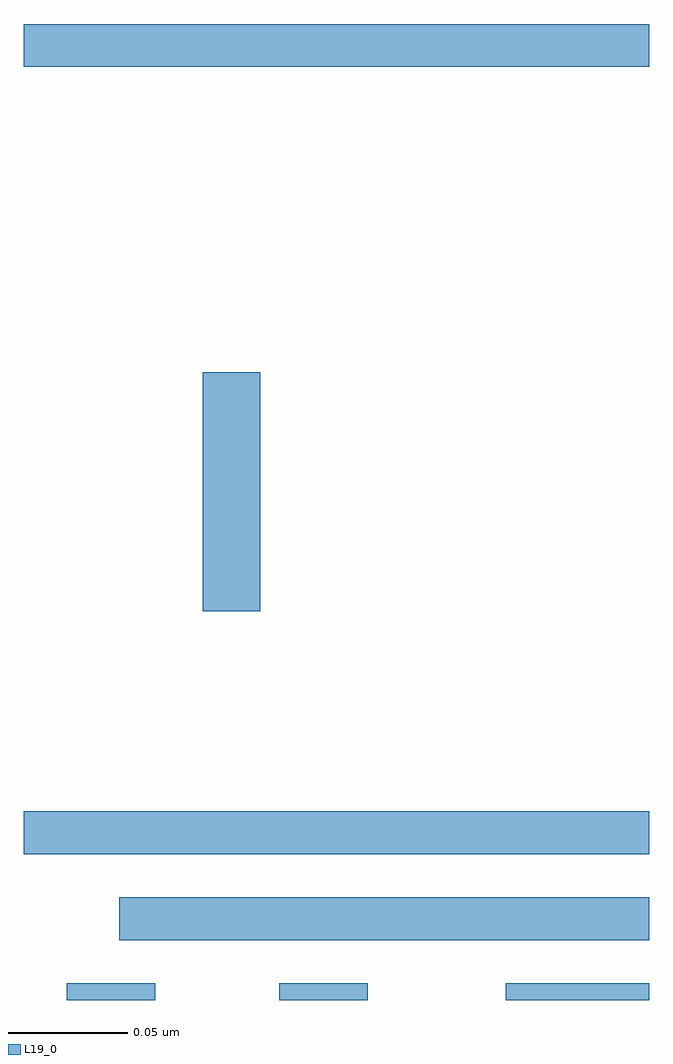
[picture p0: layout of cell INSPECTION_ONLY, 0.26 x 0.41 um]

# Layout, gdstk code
import gdstk
lib = gdstk.Library(unit=1e-6, precision=2.5e-10)
def R(c, l, rs):  # rectangles x0, y0, x1, y1
    for r in rs: c.add(gdstk.rectangle(r[:2], r[2:], *l))
L19_0 = (19, 0)

inspection_only = lib.new_cell('INSPECTION_ONLY')
R(inspection_only, L19_0, [(6.018,0.2,6.055,0.207), (6.107,0.2,6.144,0.207), (6.202,0.2,6.262,0.207), (6.04,0.225,6.262,0.243), (6,0.261,6.262,0.279), (6.075,0.363,6.099,0.463), (6,0.591,6.262,0.609)])

lib.write_gds('INSPECTION_ONLY.gds')
